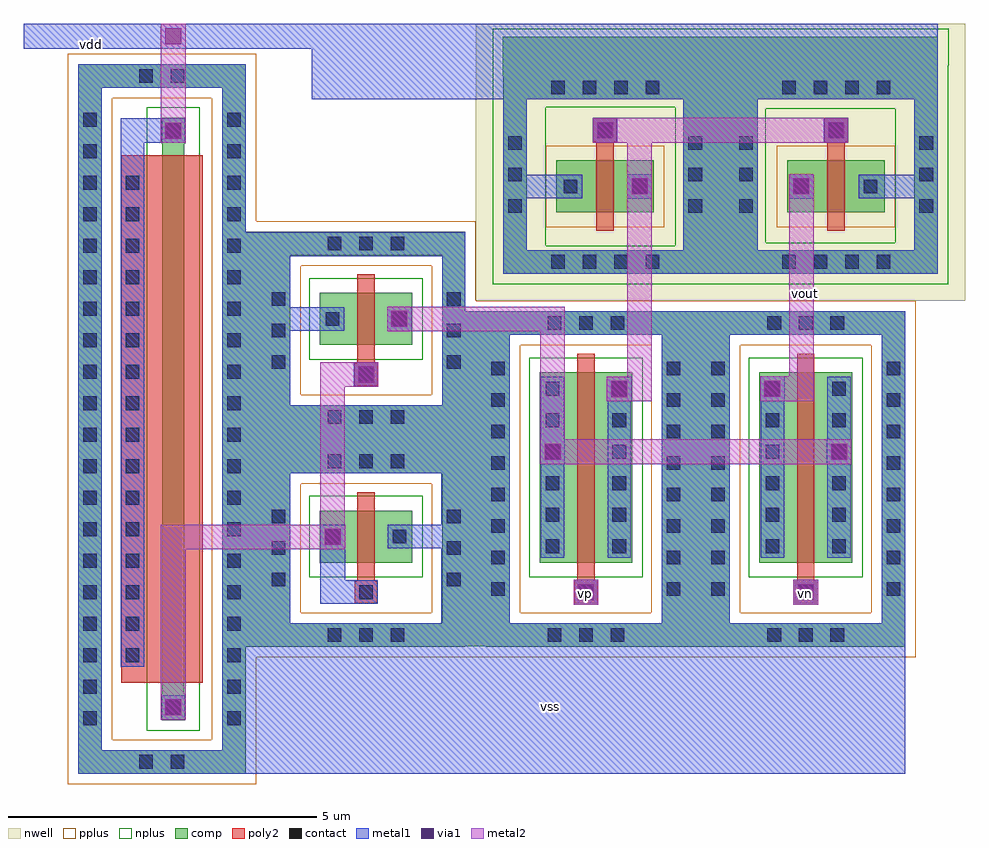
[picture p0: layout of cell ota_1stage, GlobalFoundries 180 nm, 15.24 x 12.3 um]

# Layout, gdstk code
from math import pi, radians
import gdstk
lib = gdstk.Library(unit=1e-6, precision=5e-09)
def R(c, l, rs):  # rectangles x0, y0, x1, y1
    for r in rs: c.add(gdstk.rectangle(r[:2], r[2:], *l))
def A(c, l, x, y, w, h, nx, ny, dx, dy):  # array of equal rectangles
    R(c, l, [(x+i*dx, y+j*dy, x+i*dx+w, y+j*dy+h) for i in range(nx) for j in range(ny)])
def P(c, l, *ps):  # polygons
    for p in ps: c.add(gdstk.Polygon(p, *l))
nwell = (21, 0)
comp = (22, 0)
poly2 = (30, 0)
pplus = (31, 0)
nplus = (32, 0)
contact = (33, 0)
metal1 = (34, 0)
via1 = (35, 0)
metal2 = (36, 0)

via_dev_2 = lib.new_cell('via_dev$2')
R(via_dev_2, metal1, [(0,0,0.4,0.4)])
R(via_dev_2, via1, [(0.07,0.07,0.33,0.33)])
R(via_dev_2, metal2, [(0,0,0.4,0.4)])

nfet_1 = lib.new_cell('nfet$1')
R(nfet_1, comp, [(-0.42,0,0,3.08), (0,0,0.66,3.08), (0.66,0,1.08,3.08)])
P(nfet_1, comp, [(-1.28,-1.36),(-1.28,3.69),(-0.9,3.69),(-0.9,-0.98),(1.56,-0.98),(1.56,3.69),(-1.28,3.69),(-1.28,4.07),(1.94,4.07),(1.94,-1.36)])
R(nfet_1, poly2, [(0.15,-0.66,0.51,-0.3), (0.19,-0.3,0.47,3.38)])
P(nfet_1, pplus, [(-1.45,-1.53),(-1.45,3.52),(-0.73,3.52),(-0.73,-0.81),(1.39,-0.81),(1.39,3.52),(-1.45,3.52),(-1.45,4.24),(2.11,4.24),(2.11,-1.53)])
R(nfet_1, nplus, [(-0.59,-0.24,1.25,3.32)])
A(nfet_1, contact, -0.29, -1.28, 0.22, 0.22, 3, 2, 0.51, 5.05)
A(nfet_1, contact, -1.2, -0.54, 0.22, 0.22, 1, 8, 0, 0.51)
A(nfet_1, contact, 1.64, -0.54, 0.22, 0.22, 1, 8, 0, 0.51)
A(nfet_1, contact, -0.32, 0.155, 0.22, 0.22, 1, 6, 0, 0.51)
A(nfet_1, contact, 0.76, 0.155, 0.22, 0.22, 1, 6, 0, 0.51)
R(nfet_1, contact, [(0.22,-0.59,0.44,-0.37)])
R(nfet_1, metal1, [(0.14,-0.67,0.52,-0.29), (-0.4,0.075,-0.02,3.005), (0.68,0.075,1.06,3.005)])

nfet = lib.new_cell('nfet')
R(nfet, comp, [(-0.42,0,0,0.84), (0,0,0.66,0.84), (0.66,0,1.08,0.84)])
P(nfet, comp, [(-1.28,-1.36),(-1.28,1.45),(-0.9,1.45),(-0.9,-0.98),(1.56,-0.98),(1.56,1.45),(-1.28,1.45),(-1.28,1.83),(1.94,1.83),(1.94,-1.36)])
R(nfet, poly2, [(0.15,-0.66,0.51,-0.3), (0.19,-0.3,0.47,1.14)])
P(nfet, pplus, [(-1.45,-1.53),(-1.45,1.28),(-0.73,1.28),(-0.73,-0.81),(1.39,-0.81),(1.39,1.28),(-1.45,1.28),(-1.45,2),(2.11,2),(2.11,-1.53)])
R(nfet, nplus, [(-0.59,-0.24,1.25,1.08)])
A(nfet, contact, -0.29, -1.28, 0.22, 0.22, 3, 2, 0.51, 2.81)
A(nfet, contact, -1.2, -0.385, 0.22, 0.22, 1, 3, 0, 0.51)
A(nfet, contact, 1.64, -0.385, 0.22, 0.22, 1, 3, 0, 0.51)
R(nfet, contact, [(0.22,-0.59,0.44,-0.37), (-0.32,0.31,-0.1,0.53), (0.76,0.31,0.98,0.53)])
R(nfet, metal1, [(0.14,-0.67,0.52,-0.29), (-0.4,0.23,-0.02,0.61), (0.68,0.23,1.06,0.61)])

nfet_3 = lib.new_cell('nfet$3')
R(nfet_3, comp, [(-0.42,-0.01,0,0.37), (8.92,-0.01,9.34,0.37), (0,0,8.92,0.36)])
P(nfet_3, comp, [(-1.28,-0.99),(-1.28,1.34),(-0.9,1.34),(-0.9,-0.61),(9.82,-0.61),(9.82,1.34),(-1.28,1.34),(-1.28,1.72),(10.2,1.72),(10.2,-0.99)])
R(nfet_3, poly2, [(0.19,-0.3,8.73,0.66), (0.19,0.66,8.73,1.02)])
P(nfet_3, pplus, [(-1.45,-1.16),(-1.45,1.17),(-0.73,1.17),(-0.73,-0.44),(9.65,-0.44),(9.65,1.17),(-1.45,1.17),(-1.45,1.89),(10.37,1.89),(10.37,-1.16)])
R(nfet_3, nplus, [(-0.59,-0.25,9.51,0.61)])
A(nfet_3, contact, -0.495, -0.91, 0.22, 0.22, 20, 2, 0.51, 2.33)
A(nfet_3, contact, 0.525, 0.73, 0.22, 0.22, 16, 1, 0.51, 0)
R(nfet_3, contact, [(-1.2,0,-0.98,0.22), (9.9,0,10.12,0.22), (-0.32,0.07,-0.1,0.29), (9.02,0.07,9.24,0.29), (-1.2,0.51,-0.98,0.73), (9.9,0.51,10.12,0.73)])
R(nfet_3, metal1, [(-0.4,-0.01,-0.02,0.37), (8.94,-0.01,9.32,0.37), (0.445,0.65,8.475,1.03)])

pfet_1 = lib.new_cell('pfet$1')
R(pfet_1, nwell, [(-1.76,-1.43,2.42,2.65)])
R(pfet_1, comp, [(-0.46,0,0,0.84), (0,0,0.66,0.84), (0.66,0,1.12,0.84)])
P(pfet_1, comp, [(-1.32,-0.99),(-1.32,1.83),(-0.94,1.83),(-0.94,-0.61),(1.6,-0.61),(1.6,1.83),(-1.32,1.83),(-1.32,2.21),(1.98,2.21),(1.98,-0.99)])
R(pfet_1, poly2, [(0.19,-0.3,0.47,1.14), (0.14,1.14,0.52,1.52)])
R(pfet_1, pplus, [(-0.63,-0.24,1.29,1.08)])
A(pfet_1, contact, -0.545, -0.91, 0.22, 0.22, 4, 2, 0.51, 2.82)
A(pfet_1, contact, -1.24, -0.01, 0.22, 0.22, 1, 3, 0, 0.51)
A(pfet_1, contact, 1.68, -0.01, 0.22, 0.22, 1, 3, 0, 0.51)
R(pfet_1, contact, [(-0.34,0.31,-0.12,0.53), (0.78,0.31,1,0.53), (0.22,1.22,0.44,1.44)])
R(pfet_1, metal1, [(-0.42,0.23,-0.04,0.61), (0.7,0.23,1.08,0.61), (0.14,1.14,0.52,1.52)])

ota_1stage = lib.new_cell('ota_1stage')
P(ota_1stage, nwell, [(3.58,2.355),(3.58,6.435),(-4.02,6.435),(-4.02,6.835),(3.9,6.835),(3.9,6.435),(3.7,6.435),(3.7,2.355)])
P(ota_1stage, comp, [(-0.28,2.79),(-0.28,5.995),(-3.59,5.995),(-3.59,6.625),(3.46,6.625),(3.46,5.995),(0.4,5.995),(0.4,3.245),(0.44,3.245),(0.44,2.935),(3.46,2.935),(3.46,2.79)],
  [(-7.83,-3.245),(-7.83,-2.985),(-7.86,-2.985),(-7.86,3.47),(-7.41,3.47),(-7.41,0.28),(-4.255,0.28),(-4.255,2.185),(-3.85,2.185),(-3.85,0.45),(-3.66,0.45),(-3.66,-0.055),(-3.85,-0.055),(-3.85,-0.44),(-3.715,-0.44),(-3.715,-3.24),(-4.19,-3.24),(-4.19,-0.555),(-4.255,-0.555),(-4.255,-0.16),(-7.41,-0.16),(-7.41,-3.245)],
  [(-0.805,-3.245),(-0.805,-2.875),(-0.63,-2.875),(-0.63,2.185),(-0.06,2.185),(-0.06,-2.99),(-0.29,-2.99),(-0.29,-3.245)])
P(ota_1stage, nplus, [(-3.75,2.625),(-3.75,5.485),(-2.89,5.485),(-2.89,3.245),(-0.795,3.245),(-0.795,5.465),(0.675,5.465),(0.675,3.29),(2.77,3.29),(2.77,5.465),(-0.795,5.465),(-0.795,5.485),(-3.75,5.485),(-3.75,6.76),(3.635,6.76),(3.635,6.165),(3.63,6.165),(3.63,2.625)])
P(ota_1stage, metal1, [(-10.46,-5.3),(-10.46,5.8),(-10.08,5.8),(-10.08,-4.92),(-8.13,-4.92),(-8.13,-0.44),(-7.03,-0.44),(-7.03,-2.87),(-4.58,-2.87),(-4.58,-1.655),(-5.45,-1.655),(-5.45,-1.275),(-4.58,-1.275),(-4.58,-0.44),(-8.13,-0.44),(-8.13,3.075),(-7.03,3.075),(-7.03,2.25),(-6.525,2.25),(-6.525,1.87),(-7.03,1.87),(-7.03,0.66),(-4.57,0.66),(-4.57,1.805),(-3.47,1.805),(-3.47,-2.865),(-1.01,-2.865),(-1.01,1.805),(0.09,1.805),(0.09,-2.865),(2.55,-2.865),(2.55,1.805),(-4.57,1.805),(-4.57,3.075),(-8.13,3.075),(-8.13,5.8),(-10.46,5.8),(-10.46,6.18),(-7.75,6.18),(-7.75,3.46),(-4.19,3.46),(-4.19,2.185),(2.93,2.185),(2.93,-5.3)],
  [(-9.77,4.12),(-9.77,5.31),(-8.72,5.31),(-8.72,4.91),(-9.39,4.91),(-9.39,4.12)],
  [(-6.54,-2.555),(-6.54,-1.27),(-6.14,-1.27),(-6.14,-2.175),(-5.99,-2.175),(-5.99,-2.555)],
  [(-3.58,2.79),(-3.58,5.615),(-3.2,5.615),(-3.2,4.395),(-2.3,4.395),(-2.3,4.015),(-3.2,4.015),(-3.2,3.175),(-0.66,3.175),(-0.66,5.615),(0.54,5.615),(0.54,3.175),(3.08,3.175),(3.08,4.015),(2.18,4.015),(2.18,4.395),(3.08,4.395),(3.08,5.615),(-6.68,5.615),(-6.68,6.435),(-11.34,6.435),(-11.34,6.835),(3.46,6.835),(3.46,2.79)])
R(ota_1stage, metal2, [(-2.58,-0.29,1.66,0.11), (-2.98,0.11,-2.58,1.86), (0.98,0.73,1.05,1.13), (1.05,0.73,1.45,4.13), (-6.545,0.96,-6,1.36), (-5.46,1.86,-2.58,2.26), (-9.12,4.91,-8.72,6.435), (-1.73,4.915,1.61,5.315)])
P(ota_1stage, metal2, [(-1.9,0.725),(-1.9,1.125),(-1.57,1.125),(-1.57,4.915),(-1.17,4.915),(-1.17,0.725)],
  [(-9.12,-4.03),(-9.12,-1.27),(-6.545,-1.27),(-6.545,0.96),(-6.145,0.96),(-6.145,-1.67),(-8.72,-1.67),(-8.72,-4.03)])
ota_1stage.add(gdstk.Reference(via_dev_2, (1.05,4.005)))
ota_1stage.add(gdstk.Reference(via_dev_2, (-1.57,4.005)))
ota_1stage.add(gdstk.Reference(via_dev_2, (-2.13,4.915)))
ota_1stage.add(gdstk.Reference(via_dev_2, (1.61,4.915)))
ota_1stage.add(gdstk.Reference(via_dev_2, (0.58,0.73)))
ota_1stage.add(gdstk.Reference(via_dev_2, (-1.9,0.725)))
ota_1stage.add(gdstk.Reference(nfet_1, (-2.57,-1.885)))
ota_1stage.add(gdstk.Reference(nfet_1, (0.99,-1.885)))
ota_1stage.add(gdstk.Reference(via_dev_2, (-2.98,-0.29)))
ota_1stage.add(gdstk.Reference(via_dev_2, (1.66,-0.29)))
ota_1stage.add(gdstk.Reference(via_dev_2, (-2.44,-2.565)))
ota_1stage.add(gdstk.Reference(via_dev_2, (1.12,-2.565)))
ota_1stage.add(gdstk.Reference(nfet, (-6.13,1.64)))
ota_1stage.add(gdstk.Reference(via_dev_2, (-5.46,1.86)))
ota_1stage.add(gdstk.Reference(via_dev_2, (-6,0.96)))
ota_1stage.add(gdstk.Reference(nfet, (-6.13,-1.885)))
ota_1stage.add(gdstk.Reference(via_dev_2, (-8.72,4.91), rotation=pi/2))
ota_1stage.add(gdstk.Reference(via_dev_2, (-9.12,6.435)))
ota_1stage.add(gdstk.Reference(via_dev_2, (-8.72,-4.43), rotation=pi/2))
ota_1stage.add(gdstk.Reference(via_dev_2, (-6.54,-1.67)))
ota_1stage.add(gdstk.Reference(nfet_3, (-8.74,-4.02), rotation=pi/2))
ota_1stage.add(gdstk.Reference(pfet_1, (1.48,3.785)))
ota_1stage.add(gdstk.Reference(pfet_1, (-2.26,3.785)))
ota_1stage.add(gdstk.Label('vdd', (-10.25,6.505), layer=34, texttype=10))
ota_1stage.add(gdstk.Label('vss', (-2.815,-4.215), layer=34, texttype=10))
ota_1stage.add(gdstk.Label('vp', (-2.245,-2.38), layer=36, texttype=10))
ota_1stage.add(gdstk.Label('vn', (1.32,-2.385), layer=36, texttype=10))
ota_1stage.add(gdstk.Label('vout', (1.315,2.465), layer=36, texttype=10))

lib.write_gds('ota_1stage.gds')
